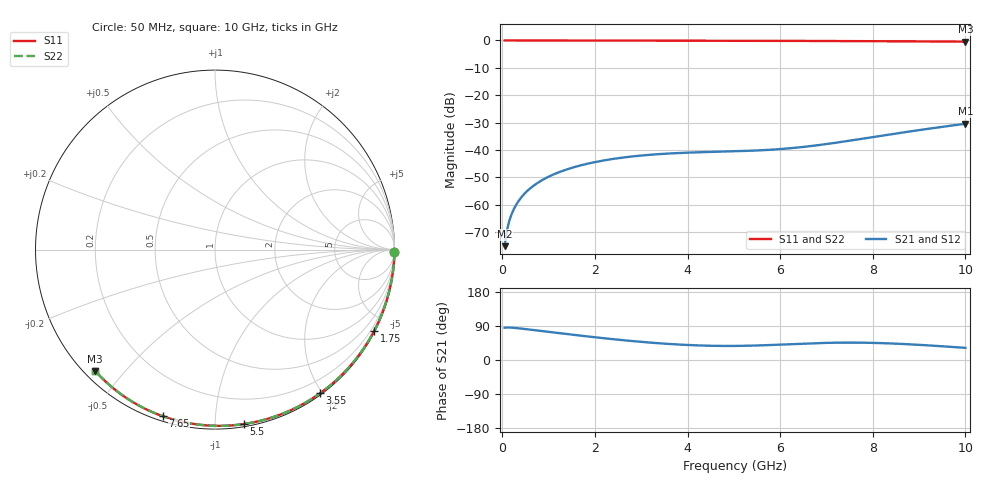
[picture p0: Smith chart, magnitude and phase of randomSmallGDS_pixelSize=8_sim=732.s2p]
! freq	dB(S11)	phase(S11)	dB(S12)	phase(S12)
!  dB(S21)	phase(S21)	dB(S22)	phase(S22)
!S-par simulation data
#  GHz  S  DB  R 50
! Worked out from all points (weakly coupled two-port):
!   200 points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, 50 MHz to 10 GHz, reference 50 ohm
!   highest |S21| = -30.40 dB at 10 GHz (marker M1); lowest = -75.1 dB at 50 MHz (marker M2)
!   lowest |S11| = -0.4 dB at 10 GHz (marker M3), VSWR 38.93, Z = 1.51 - j20.9 ohm
!   |S11| at or under -10 dB: nowhere
!   |S22| runs from -0.4 to 0.0 dB; largest |S21 - S12| = 0
!   S11 on the Smith chart (normalised r, x): 50 MHz: open; 1.75 GHz: 0.04, -4.13; 3.55 GHz: 0.02, -1.97; 5.5 GHz: 0.02, -1.18; 7.65 GHz: 0.02, -0.73; 10 GHz: 0.03, -0.42
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0.05  -0.00 -0.8  -75.07 85.3  -75.07 85.3  -0.00 -0.8
0.1  -0.00 -1.6  -69.35 85.7  -69.35 85.7  -0.00 -1.6
0.15  -0.00 -2.4  -65.91 85.7  -65.91 85.7  -0.00 -2.4
0.2  -0.00 -3.2  -63.44 85.4  -63.44 85.4  -0.00 -3.2
0.25  -0.00 -4.0  -61.53 84.9  -61.53 84.9  -0.00 -4.0
0.35  -0.00 -5.5  -58.63 83.7  -58.63 83.7  -0.00 -5.5
0.5  -0.01 -7.9  -55.57 81.6  -55.57 81.6  -0.01 -7.9
0.7  -0.01 -11.0  -52.71 78.7  -52.71 78.7  -0.01 -11.0
1  -0.02 -15.7  -49.73 74.3  -49.73 74.3  -0.02 -15.7
1.35  -0.03 -21.1  -47.31 69.1  -47.31 69.1  -0.03 -21.1
1.75  -0.03 -27.2  -45.34 63.4  -45.34 63.4  -0.03 -27.2
2.5  -0.05 -38.5  -42.97 53.6  -42.97 53.6  -0.05 -38.5
3.4  -0.07 -51.7  -41.46 44.0  -41.46 44.0  -0.07 -51.7
3.55  -0.07 -53.9  -41.30 42.7  -41.30 42.7  -0.07 -53.9
4.3  -0.09 -64.4  -40.78 38.2  -40.78 38.2  -0.09 -64.4
5.05  -0.11 -74.6  -40.43 37.2  -40.43 37.2  -0.11 -74.6
5.5  -0.13 -80.6  -40.15 38.3  -40.15 38.3  -0.13 -80.6
6.15  -0.16 -88.9  -39.44 41.4  -39.44 41.4  -0.16 -88.9
6.7  -0.18 -95.8  -38.47 44.2  -38.47 44.2  -0.18 -95.8
7.65  -0.24 -107.4  -36.19 45.9  -36.19 45.9  -0.24 -107.4
8.35  -0.29 -115.7  -34.36 43.9  -34.36 43.9  -0.29 -115.7
10  -0.45 -134.6  -30.40 32.0  -30.40 32.0  -0.45 -134.6
